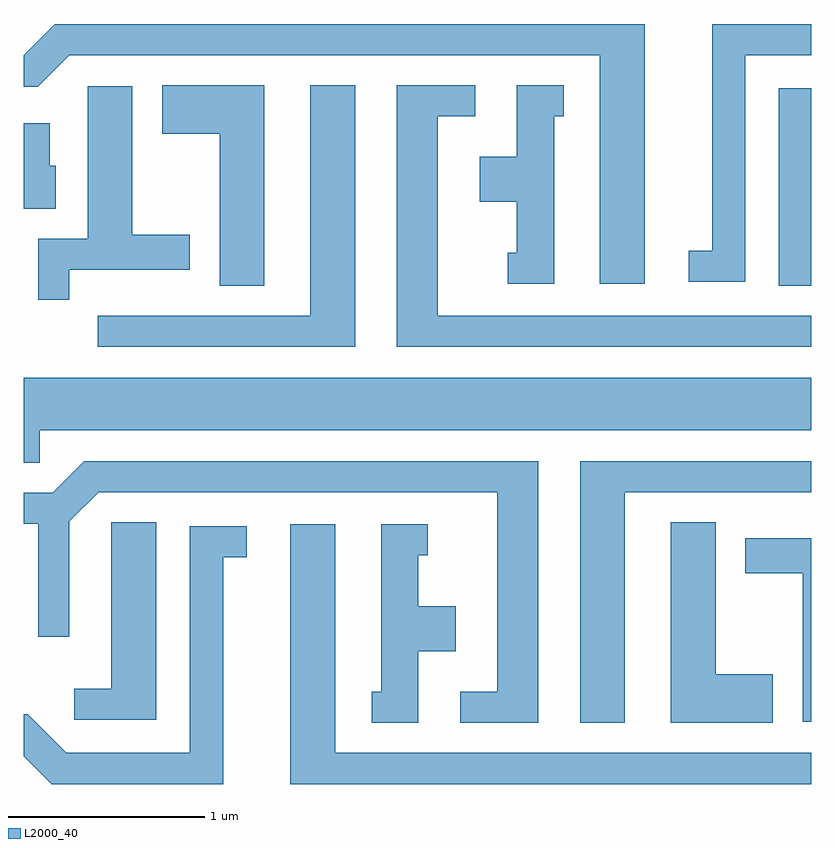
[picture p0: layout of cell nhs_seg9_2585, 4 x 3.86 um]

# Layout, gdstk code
import gdstk
lib = gdstk.Library(unit=1e-6, precision=1e-09)
def R(c, l, rs):  # rectangles x0, y0, x1, y1
    for r in rs: c.add(gdstk.rectangle(r[:2], r[2:], *l))
def P(c, l, *ps):  # polygons
    for p in ps: c.add(gdstk.Polygon(p, *l))
L2000_40 = (2000, 40)

nhs_seg9_2585 = lib.new_cell('nhs_seg9_2585')
R(nhs_seg9_2585, L2000_40, [(265.446,1957.031,265.611,1958.034)])
P(nhs_seg9_2585, L2000_40, [(265.274,1958.201),(265.611,1958.201),(265.611,1958.359),(265.106,1958.359),(265.106,1957.209),(264.988,1957.209),(264.988,1957.051),(265.274,1957.051)],
  [(264.764,1958.359),(261.769,1958.359),(261.611,1958.201),(261.611,1958.041),(261.682,1958.041),(261.842,1958.201),(264.536,1958.201),(264.536,1957.041),(264.764,1957.041)],
  [(262.834,1958.049),(262.316,1958.049),(262.316,1957.801),(262.606,1957.801),(262.606,1957.031),(262.834,1957.031)],
  [(263.294,1958.049),(263.066,1958.049),(263.066,1956.879),(261.988,1956.879),(261.988,1956.721),(263.294,1956.721)],
  [(264.304,1957.891),(264.353,1957.891),(264.353,1958.049),(264.116,1958.049),(264.116,1957.684),(263.926,1957.684),(263.926,1957.456),(264.116,1957.456),(264.116,1957.199),(264.068,1957.199),(264.068,1957.041),(264.304,1957.041)],
  [(265.611,1956.879),(263.714,1956.879),(263.714,1957.891),(263.903,1957.891),(263.903,1958.049),(263.506,1958.049),(263.506,1956.721),(265.611,1956.721)],
  [(261.844,1957.111),(262.454,1957.111),(262.454,1957.289),(262.164,1957.289),(262.164,1958.044),(261.936,1958.044),(261.936,1957.269),(261.686,1957.269),(261.686,1956.958),(261.844,1956.958)],
  [(261.774,1957.639),(261.744,1957.639),(261.744,1957.854),(261.611,1957.854),(261.611,1957.421),(261.774,1957.421)],
  [(261.694,1956.296),(265.611,1956.296),(265.611,1956.564),(261.611,1956.564),(261.611,1956.131),(261.694,1956.131)],
  [(264.664,1955.981),(265.611,1955.981),(265.611,1956.139),(264.436,1956.139),(264.436,1954.811),(264.664,1954.811)],
  [(264.224,1956.139),(261.919,1956.139),(261.759,1955.979),(261.611,1955.979),(261.611,1955.821),(261.686,1955.821),(261.686,1955.248),(261.844,1955.248),(261.844,1955.834),(261.992,1955.981),(264.016,1955.981),(264.016,1954.969),(263.828,1954.969),(263.828,1954.811),(264.224,1954.811)],
  [(262.284,1955.829),(262.056,1955.829),(262.056,1954.984),(261.868,1954.984),(261.868,1954.826),(262.284,1954.826)],
  [(265.414,1955.059),(265.124,1955.059),(265.124,1955.829),(264.896,1955.829),(264.896,1954.811),(265.414,1954.811)],
  [(263.614,1955.176),(263.804,1955.176),(263.804,1955.404),(263.614,1955.404),(263.614,1955.661),(263.663,1955.661),(263.663,1955.819),(263.426,1955.819),(263.426,1954.969),(263.378,1954.969),(263.378,1954.811),(263.614,1954.811)],
  [(265.611,1954.659),(263.194,1954.659),(263.194,1955.819),(262.966,1955.819),(262.966,1954.501),(265.611,1954.501)],
  [(262.624,1955.651),(262.743,1955.651),(262.743,1955.809),(262.456,1955.809),(262.456,1954.659),(261.827,1954.659),(261.632,1954.854),(261.611,1954.854),(261.611,1954.643),(261.754,1954.501),(262.624,1954.501)],
  [(265.611,1955.749),(265.276,1955.749),(265.276,1955.571),(265.566,1955.571),(265.566,1954.816),(265.611,1954.816)])

lib.write_gds('nhs_seg9_2585.gds')
